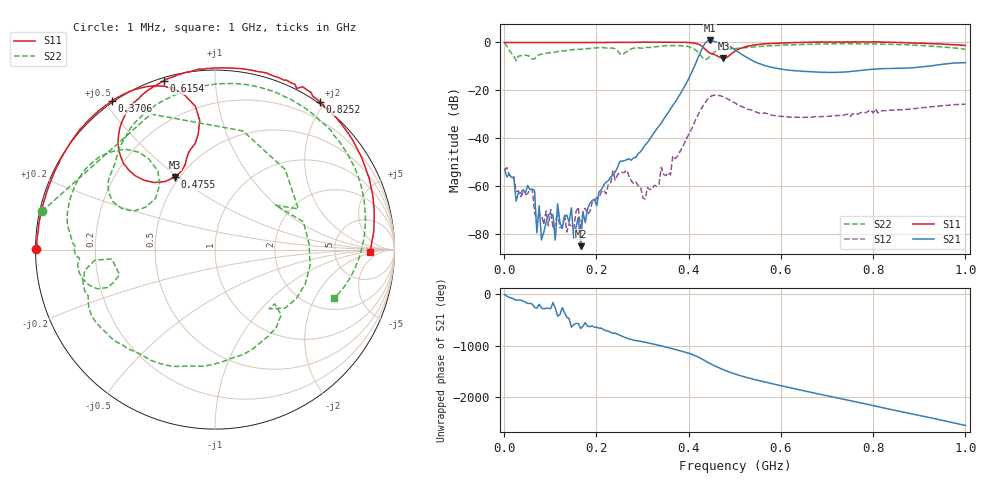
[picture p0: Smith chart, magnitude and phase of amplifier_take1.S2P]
!Agilent Technologies,E5071C,MY46101273,A.11.02
!Date: Mon Oct 30 14:26:43 2017
!Data & Calibration Information:
!Freq	S11:SOLT1(ON)	S21:NONE(--)	S12:NONE(--)	S22:SOLT1(ON)
!PortZ  Port1:50+j0  Port2:50+j0
!Above PortZ is port z conversion or system Z0 setting when saving the data.
!When reading, reference impedance value at option line is always used.
# Hz S dB R 50
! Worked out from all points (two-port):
!   201 points, 1 MHz to 1 GHz, reference 50 ohm
!   highest |S21| = 0.80 dB at 445.6 MHz (marker M1); lowest = -85.2 dB at 165.8 MHz (marker M2)
!   |S21| within 3 dB of the highest: 430.1 MHz to 493.6 MHz (63.5 MHz wide, 13.7 % of centre)
!   lowest |S11| = -6.7 dB at 475.5 MHz (marker M3), VSWR 2.72, Z = 23.8 + j24.5 ohm
!   |S11| at or under -10 dB: nowhere
!   |S22| runs from -7.6 to -0.1 dB; largest |S21 - S12| = 1
!   S11 on the Smith chart (normalised r, x): 1 MHz: 0.00, +0.00; 370.6 MHz: -0.01, +0.52; 475.5 MHz: 0.48, +0.49; 615.4 MHz: 0.01, +0.74; 825.2 MHz: -0.02, +1.94; 1 GHz: 14, -1
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1000000  -0.04 179.7  -53.02 -1.2  -53.49 11.2  -0.11 167.6
1.5985e7  -0.06 177.7  -56.49 -70.4  -56.52 -64.3  -4.54 48.7
3.5965e7  -0.07 175.2  -63.10 -110.1  -64.50 -116.3  -5.60 3.5
6.5935e7  -0.07 171.5  -61.97 108.6  -70.98 124.2  -6.95 -42.2
7.093e7  -0.07 170.9  -79.61 93.8  -75.43 101.6  -5.72 -44.6
1.15885e8  -0.08 165.2  -67.47 -62.5  -70.82 -10.2  -3.85 -91.8
1.65835e8  -0.08 158.8  -85.20 58.1  -77.94 126.1  -2.90 -126.0
1.7083e8  -0.07 158.2  -70.72 102.6  -71.01 170.3  -2.80 -128.7
2.35765e8  -0.02 149.2  -55.56 -37.4  -53.77 -18.7  -2.41 -166.2
3.35665e8  0.07 132.7  -35.03 87.6  -59.36 59.6  -1.66 171.6
3.7063e8  0.08 124.8  -25.01 7.8  -48.59 -33.4  -1.34 155.5
4.2058e8  -0.72 104.1  -6.33 -140.2  -30.29 -178.7  -4.10 126.1
4.35565e8  -2.80 96.7  -0.40 147.5  -25.22 115.5  -7.19 139.3
4.45555e8  -4.43 100.6  0.80 96.5  -22.80 66.7  -5.99 154.7
4.75525e8  -6.71 118.6  -0.32 -28.7  -22.78 -68.3  -2.90 144.9
5.005e8  -3.69 137.3  -3.10 -111.3  -25.31 -154.0  -2.60 138.2
5.5045e8  -0.88 123.5  -8.71 124.7  -29.46 81.2  -1.77 126.2
6.15385e8  -0.16 107.0  -11.57 -9.3  -31.14 -55.4  -1.08 107.2
6.7033e8  0.06 93.9  -12.31 -118.5  -31.20 -163.0  -0.72 90.8
8.25175e8  0.08 54.6  -10.98 -57.6  -28.55 -101.0  -0.75 40.7
8.35165e8  0.04 51.8  -10.92 -77.4  -28.36 -120.8  -0.80 37.3
1e9  -1.27 -0.8  -8.50 -34.7  -25.85 -65.2  -2.90 -22.0
